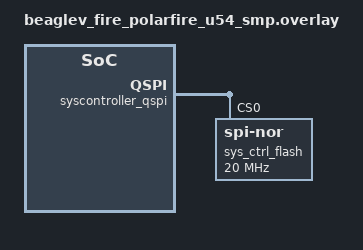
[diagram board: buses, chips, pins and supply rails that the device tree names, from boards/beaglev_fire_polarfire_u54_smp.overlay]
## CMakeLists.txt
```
# SPDX-License-Identifier: Apache-2.0

cmake_minimum_required(VERSION 3.20.0)

find_package(Zephyr REQUIRED HINTS $ENV{ZEPHYR_BASE})
project(spi_erase)

target_sources(app PRIVATE src/main.c)
```

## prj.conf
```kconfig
# CONFIG_LOG=y
CONFIG_FLASH=y
CONFIG_FLASH_PAGE_LAYOUT=y
CONFIG_FLASH_MAP=y
CONFIG_SPI=y
CONFIG_SPI_NOR=y
CONFIG_SPI_NOR_SFDP_RUNTIME=y
```

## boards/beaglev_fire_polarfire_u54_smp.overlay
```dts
&syscontroller_qspi {
    status = "okay";

    sys_ctrl_flash: flash@0 {
        compatible = "jedec,spi-nor";
        reg = <0>;
        spi-max-frequency = <20000000>;
        size = <0x1000000>;          // 16MB (128Mbit)
        jedec-id = [ef 40 18];       // Winbond W25Q128 JEDEC ID
        has-dpd;
    };
};
```

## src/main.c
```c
#include <zephyr/device.h>
#include <zephyr/drivers/flash.h>
#include <zephyr/kernel.h>
#include <zephyr/logging/log.h>
#include <stdio.h>

LOG_MODULE_REGISTER(flash_erase_example, LOG_LEVEL_INF);

void main(void)
{
	const struct device *flash_dev;
	int ret;

	/* Get the flash device defined in the device tree */
	flash_dev = DEVICE_DT_GET(DT_NODELABEL(sys_ctrl_flash));

	if (!device_is_ready(flash_dev))
	{
		printf("Flash device not ready\n");
		return;
	}
	printf("Flash device ready\n");

	/*
		uint32_t buffer[3]; // Array to hold three 32-bit values (12 bytes total)

		ret = flash_read(flash_dev, 0x0, buffer, sizeof(buffer));
		if (ret != 0)
		{
			printf("Flash read failed: %d\n", ret);
			return;
		}

		for (int i = 0; i < 3; i++)
		{
			printf("Address 0x%08x: 0x%08x\n", i * 4, buffer[i]);
		}
	*/

	off_t offset = 0x0;	   // Start at the beginning of the flash (block 0)
	size_t size = 0x10000; // Erase 1 block (adjust to block size, typically 64 KB for SPI NOR)

	/* Erase the flash block */
	printf("Erasing flash: offset=0x%lx, size=%zu\n", offset, size);
	ret = flash_erase(flash_dev, offset, size);
	if (ret != 0)
	{
		printf("Flash erase failed: %d\n", ret);
	}
	else
	{
		printf("Flash erase successful\n");
	}
}
```
